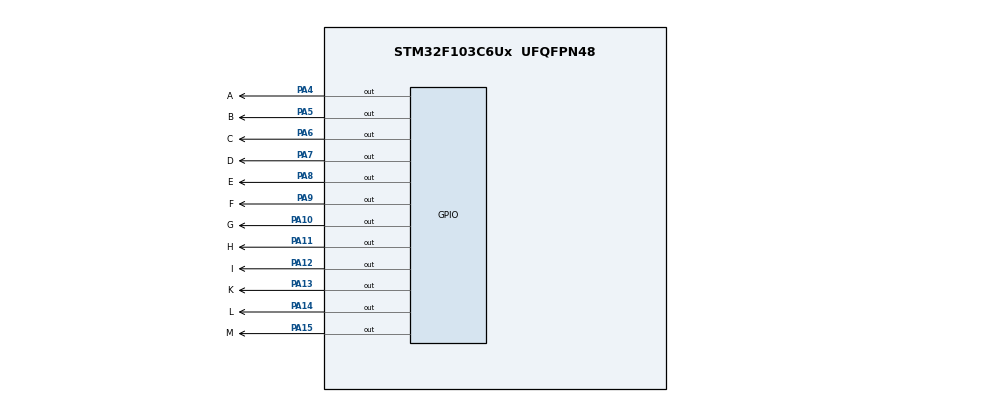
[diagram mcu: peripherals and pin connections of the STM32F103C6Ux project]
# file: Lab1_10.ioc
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Mcu.Family=STM32F1
Mcu.Name=STM32F103C6Ux
Mcu.Package=UFQFPN48
NVIC.PriorityGroup=NVIC_PRIORITYGROUP_4
PA10.GPIO_Label=G
PA10.Signal=GPIO_Output
PA11.GPIO_Label=H
PA11.Signal=GPIO_Output
PA12.GPIO_Label=I
PA12.Signal=GPIO_Output
PA13.GPIO_Label=K
PA13.Signal=GPIO_Output
PA14.GPIO_Label=L
PA14.Signal=GPIO_Output
PA15.GPIO_Label=M
PA15.Signal=GPIO_Output
PA4.GPIO_Label=A
PA4.Signal=GPIO_Output
PA5.GPIO_Label=B
PA5.Signal=GPIO_Output
PA6.GPIO_Label=C
PA6.Signal=GPIO_Output
PA7.GPIO_Label=D
PA7.Signal=GPIO_Output
PA8.GPIO_Label=E
PA8.Signal=GPIO_Output
PA9.GPIO_Label=F
PA9.Signal=GPIO_Output
ProjectManager.HeapSize=0x200
ProjectManager.StackSize=0x400
ProjectManager.TargetToolchain=STM32CubeIDE
RCC.APB1Freq_Value=8000000
RCC.APB2Freq_Value=8000000
VP_SYS_VS_ND.Mode=No_Debug
board=custom

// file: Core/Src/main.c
/* USER CODE BEGIN Header */
/**
  ******************************************************************************
  * @file           : main.c
  * @brief          : Main program body
  ******************************************************************************
  * @attention
  *
  * <h2><center>&copy; Copyright (c) 2022 STMicroelectronics.
  * All rights reserved.</center></h2>
  *
  * This software component is licensed by ST under BSD 3-Clause license,
  * the "License"; You may not use this file except in compliance with the
  * License. You may obtain a copy of the License at:
  *                        opensource.org/licenses/BSD-3-Clause
  *
  ******************************************************************************
  */
/* USER CODE END Header */
#include "main.h"

void SystemClock_Config(void);
static void MX_GPIO_Init(void);

void setNumberOnClock(int num);
void clearAllClock ();
void clearNumberOnClock(int num);
int main(void)
{

  /* MCU Configuration--------------------------------------------------------*/

  /* Reset of all peripherals, Initializes the Flash interface and the Systick. */
  HAL_Init();

  /* Configure the system clock */
  SystemClock_Config();

  /* Initialize all configured peripherals */
  MX_GPIO_Init();

  /* Infinite loop */
  /* USER CODE BEGIN WHILE */
  	  int count_seconds= 0;
  	  int count_minutes= 0;
  	  int count_hours= 0;
  while (1)
  {
	  // reset trang thai den
	  clearAllClock();
	  if(count_seconds<=58){
		  clearNumberOnClock(count_seconds%12);
		  count_seconds++;
	  }
	  // kim giay quay 5 vong-> kim phut +1.
	  if(count_seconds==59){
		  if(count_minutes==11){
			  // reset all
			  if(count_hours==11){
				  count_seconds= 0;
				  count_minutes= 0;
				  count_hours= 0;
			  }
			  // reset phut, gio+1;
			  count_minutes= 0;
			  count_hours++;
		  }
		  // reset giay, phut+1.
		  count_seconds= 0;
		  count_minutes++;
		  clearNumberOnClock(count_minutes);
	  }

	  setNumberOnClock( count_seconds%12);
	  setNumberOnClock( count_minutes);
	  setNumberOnClock( count_hours);
	  HAL_Delay(500);
    /* USER CODE END WHILE */

  }
}
void clearAllClock () {
			HAL_GPIO_WritePin(A_GPIO_Port, A_Pin, SET);
			HAL_GPIO_WritePin(B_GPIO_Port, B_Pin, SET);
			HAL_GPIO_WritePin(C_GPIO_Port, C_Pin, SET);
			HAL_GPIO_WritePin(D_GPIO_Port, D_Pin, SET);
			HAL_GPIO_WritePin(E_GPIO_Port, E_Pin, SET);
			HAL_GPIO_WritePin(F_GPIO_Port, F_Pin, SET);
			HAL_GPIO_WritePin(G_GPIO_Port, G_Pin, SET);
			HAL_GPIO_WritePin(H_GPIO_Port, H_Pin, SET);
			HAL_GPIO_WritePin(I_GPIO_Port, I_Pin, SET);
			HAL_GPIO_WritePin(K_GPIO_Port, K_Pin, SET);
			HAL_GPIO_WritePin(L_GPIO_Port, L_Pin, SET);
			HAL_GPIO_WritePin(M_GPIO_Port, M_Pin, SET);
}

void setNumberOnClock(int num){
	switch(num){
	case 0:
		HAL_GPIO_WritePin(A_GPIO_Port, A_Pin, RESET);
		break;
	case 1:
		HAL_GPIO_WritePin(B_GPIO_Port, B_Pin, RESET);
		break;
	case 2:
		HAL_GPIO_WritePin(C_GPIO_Port, C_Pin, RESET);
		break;
	case 3:
		HAL_GPIO_WritePin(D_GPIO_Port, D_Pin, RESET);
		break;
	case 4:
		HAL_GPIO_WritePin(E_GPIO_Port, E_Pin, RESET);
		break;
	case 5:
		HAL_GPIO_WritePin(F_GPIO_Port, F_Pin, RESET);
		break;
	case 6:
		HAL_GPIO_WritePin(G_GPIO_Port, G_Pin, RESET);
		break;
	case 7:
		HAL_GPIO_WritePin(H_GPIO_Port, H_Pin, RESET);
		break;
	case 8:
		HAL_GPIO_WritePin(I_GPIO_Port, I_Pin, RESET);
		break;
	case 9:
		HAL_GPIO_WritePin(K_GPIO_Port, K_Pin, RESET);
		break;
	case 10:
		HAL_GPIO_WritePin(L_GPIO_Port, L_Pin, RESET);
		break;
	case 11:
		HAL_GPIO_WritePin(M_GPIO_Port, M_Pin, RESET);
		break;
	}
}
void clearNumberOnClock(int num){
		switch(num){
		case 0:
		HAL_GPIO_WritePin(A_GPIO_Port, A_Pin, SET);
		break;
		case 1:
		HAL_GPIO_WritePin(B_GPIO_Port, B_Pin, SET);
		break;
		case 2:
		HAL_GPIO_WritePin(C_GPIO_Port, C_Pin, SET);
		break;
		case 3:
		HAL_GPIO_WritePin(D_GPIO_Port, D_Pin, SET);
		break;
		case 4:
		HAL_GPIO_WritePin(E_GPIO_Port, E_Pin, SET);
		break;
		case 5:
		HAL_GPIO_WritePin(F_GPIO_Port, F_Pin, SET);
		break;
		case 6:
		HAL_GPIO_WritePin(G_GPIO_Port, G_Pin, SET);
		break;
		case 7:
		HAL_GPIO_WritePin(H_GPIO_Port, H_Pin, SET);
		break;

		case 8:
		HAL_GPIO_WritePin(I_GPIO_Port, I_Pin, SET);
		break;
		case 9:
		HAL_GPIO_WritePin(K_GPIO_Port, K_Pin, SET);
		break;
		case 10:
		HAL_GPIO_WritePin(L_GPIO_Port, L_Pin, SET);
		break;
		case 11:
		HAL_GPIO_WritePin(M_GPIO_Port, M_Pin, SET);
		break;
		}
}
void SystemClock_Config(void)
{
  RCC_OscInitTypeDef RCC_OscInitStruct = {0};
  RCC_ClkInitTypeDef RCC_ClkInitStruct = {0};

  /** Initializes the RCC Oscillators according to the specified parameters
  * in the RCC_OscInitTypeDef structure.
  */
  RCC_OscInitStruct.OscillatorType = RCC_OSCILLATORTYPE_HSI;
  RCC_OscInitStruct.HSIState = RCC_HSI_ON;
  RCC_OscInitStruct.HSICalibrationValue = RCC_HSICALIBRATION_DEFAULT;
  RCC_OscInitStruct.PLL.PLLState = RCC_PLL_NONE;
  if (HAL_RCC_OscConfig(&RCC_OscInitStruct) != HAL_OK)
  {
    Error_Handler();
  }
  /** Initializes the CPU, AHB and APB buses clocks
  */
  RCC_ClkInitStruct.ClockType = RCC_CLOCKTYPE_HCLK|RCC_CLOCKTYPE_SYSCLK
                              |RCC_CLOCKTYPE_PCLK1|RCC_CLOCKTYPE_PCLK2;
  RCC_ClkInitStruct.SYSCLKSource = RCC_SYSCLKSOURCE_HSI;
  RCC_ClkInitStruct.AHBCLKDivider = RCC_SYSCLK_DIV1;
  RCC_ClkInitStruct.APB1CLKDivider = RCC_HCLK_DIV1;
  RCC_ClkInitStruct.APB2CLKDivider = RCC_HCLK_DIV1;

  if (HAL_RCC_ClockConfig(&RCC_ClkInitStruct, FLASH_LATENCY_0) != HAL_OK)
  {
    Error_Handler();
  }
}

static void MX_GPIO_Init(void)
{
  GPIO_InitTypeDef GPIO_InitStruct = {0};

  /* GPIO Ports Clock Enable */
  __HAL_RCC_GPIOA_CLK_ENABLE();

  /*Configure GPIO pin Output Level */
  HAL_GPIO_WritePin(GPIOA, A_Pin|B_Pin|C_Pin|D_Pin
                          |E_Pin|F_Pin|G_Pin|H_Pin
                          |I_Pin|K_Pin|L_Pin|M_Pin, GPIO_PIN_RESET);

  /*Configure GPIO pins : A_Pin B_Pin C_Pin D_Pin
                           E_Pin F_Pin G_Pin H_Pin
                           I_Pin K_Pin L_Pin M_Pin */
  GPIO_InitStruct.Pin = A_Pin|B_Pin|C_Pin|D_Pin
                          |E_Pin|F_Pin|G_Pin|H_Pin
                          |I_Pin|K_Pin|L_Pin|M_Pin;
  GPIO_InitStruct.Mode = GPIO_MODE_OUTPUT_PP;
  GPIO_InitStruct.Pull = GPIO_NOPULL;
  GPIO_InitStruct.Speed = GPIO_SPEED_FREQ_LOW;
  HAL_GPIO_Init(GPIOA, &GPIO_InitStruct);

}

void Error_Handler(void)
{
  __disable_irq();
  while (1)
  {
  }
}

/************************ (C) COPYRIGHT STMicroelectronics *****END OF FILE****/
